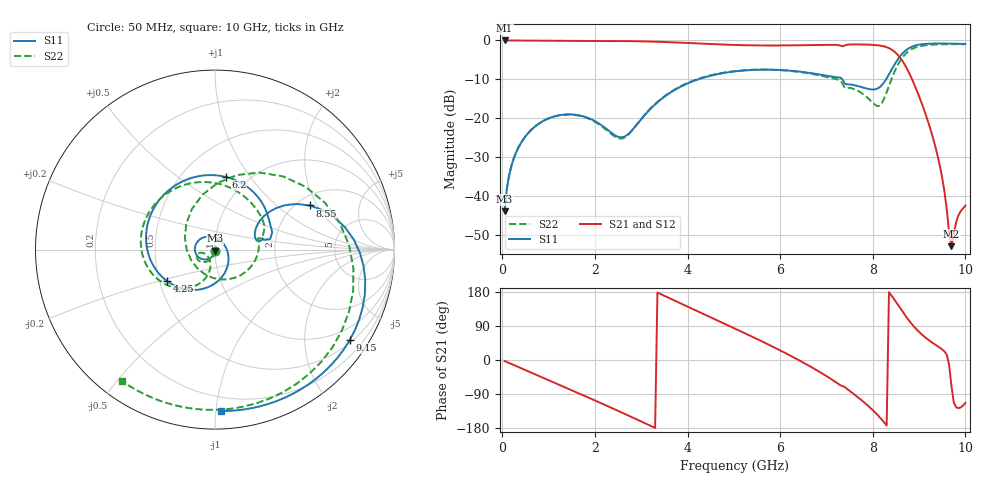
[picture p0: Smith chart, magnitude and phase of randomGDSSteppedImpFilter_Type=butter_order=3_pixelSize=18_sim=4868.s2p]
! freq	dB(S11)	phase(S11)	dB(S12)	phase(S12)
!  dB(S21)	phase(S21)	dB(S22)	phase(S22)
!S-par simulation data
#  GHz  S  DB  R 50
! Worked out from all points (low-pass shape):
!   200 points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, 50 MHz to 10 GHz, reference 50 ohm
!   highest |S21| = 0.00 dB at 50 MHz (marker M1); lowest = -52.9 dB at 9.7 GHz (marker M2)
!   |S21| within 3 dB of the highest: start of sweep to 8.479 GHz
!   lowest |S11| = -44.0 dB at 50 MHz (marker M3), VSWR 1.01, Z = 50 - j0.632 ohm
!   |S11| at or under -10 dB: start of sweep to 4.231 GHz; 7.341 GHz to 8.286 GHz (944.8 MHz wide, 12.1 % of centre)
!   |S22| runs from -43.9 to -0.9 dB; largest |S21 - S12| = 0
!   S11 on the Smith chart (normalised r, x): 50 MHz: 1.00, -0.01; 4.25 GHz: 0.55, -0.22; 6.2 GHz: 0.79, +0.77; 8.55 GHz: 2.33, +1.73; 9.15 GHz: 0.58, -3.19; 10 GHz: 0.11, -1.03
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0.05  -43.96 -93.4  -0.00 -2.7  -0.00 -2.7  -43.93 -92.6
0.2  -32.11 -103.3  -0.02 -10.7  -0.02 -10.7  -32.12 -100.1
0.55  -23.94 -125.3  -0.05 -29.4  -0.05 -29.4  -23.95 -116.1
1.2  -19.30 -166.9  -0.11 -63.9  -0.11 -63.9  -19.35 -143.8
1.75  -19.52 153.5  -0.14 -93.2  -0.14 -93.2  -19.63 -162.8
2.6  -24.89 35.3  -0.17 -139.7  -0.17 -139.7  -25.17 -134.8
3.4  -15.41 -81.7  -0.36 175.0  -0.36 175.0  -15.30 -109.0
4.25  -9.92 -146.5  -0.79 126.7  -0.79 126.7  -9.81 -140.8
5.05  -7.92 158.8  -1.17 81.4  -1.17 81.4  -7.84 -176.3
6.2  -7.76 81.6  -1.27 12.8  -1.27 12.8  -7.81 124.2
6.7  -8.46 50.4  -1.18 -20.6  -1.18 -20.6  -8.64 89.1
7.3  -9.55 16.8  -1.31 -66.6  -1.31 -66.6  -10.29 24.7
7.65  -11.65 11.3  -1.02 -95.6  -1.02 -95.6  -12.78 -17.5
8.1  -12.38 22.6  -1.24 -144.6  -1.24 -144.6  -16.88 -133.1
8.35  -8.72 34.8  -1.98 179.2  -1.98 179.2  -11.69 119.6
8.55  -4.70 25.0  -3.83 144.3  -3.83 144.3  -6.08 59.9
8.85  -1.58 -6.4  -10.02 93.9  -10.02 93.9  -2.18 -7.6
9.15  -0.87 -33.8  -19.30 58.0  -19.30 58.0  -1.22 -53.1
9.45  -0.78 -55.3  -32.32 32.4  -32.32 32.4  -1.00 -84.7
9.7  -0.82 -70.8  -52.91 -69.6  -52.91 -69.6  -0.95 -105.1
9.85  -0.86 -79.5  -44.97 -127.1  -44.97 -127.1  -0.95 -115.7
10  -0.92 -88.0  -42.45 -113.0  -42.45 -113.0  -0.95 -125.4
